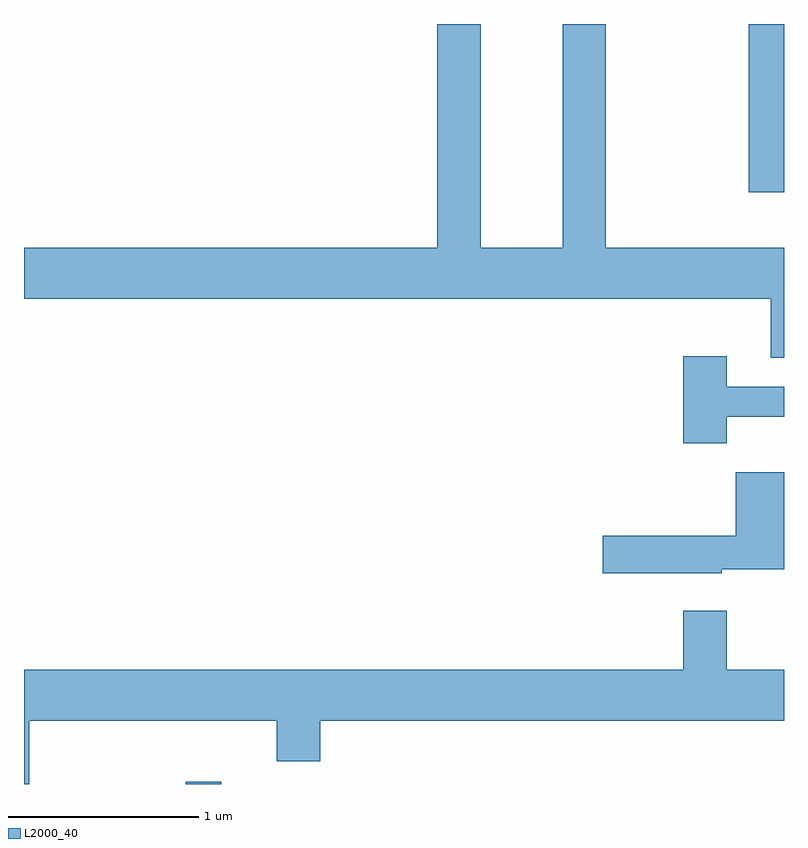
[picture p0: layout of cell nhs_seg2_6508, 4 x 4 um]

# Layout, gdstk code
import gdstk
lib = gdstk.Library(unit=1e-6, precision=1e-09)
def R(c, l, rs):  # rectangles x0, y0, x1, y1
    for r in rs: c.add(gdstk.rectangle(r[:2], r[2:], *l))
def P(c, l, *ps):  # polygons
    for p in ps: c.add(gdstk.Polygon(p, *l))
L2000_40 = (2000, 40)

nhs_seg2_6508 = lib.new_cell('nhs_seg2_6508')
R(nhs_seg2_6508, L2000_40, [(378.461,1005.802,378.649,1005.814), (381.426,1008.916,381.611,1009.802)])
P(nhs_seg2_6508, L2000_40, [(381.611,1008.624),(380.674,1008.624),(380.674,1009.802),(380.446,1009.802),(380.446,1008.624),(380.014,1008.624),(380.014,1009.802),(379.786,1009.802),(379.786,1008.624),(377.611,1008.624),(377.611,1008.356),(381.541,1008.356),(381.541,1008.046),(381.611,1008.046)],
  [(381.309,1007.736),(381.611,1007.736),(381.611,1007.894),(381.309,1007.894),(381.309,1008.054),(381.081,1008.054),(381.081,1007.596),(381.309,1007.596)],
  [(381.284,1006.931),(381.611,1006.931),(381.611,1007.444),(381.356,1007.444),(381.356,1007.109),(380.656,1007.109),(380.656,1006.911),(381.284,1006.911)],
  [(377.639,1006.136),(378.941,1006.136),(378.941,1005.921),(379.169,1005.921),(379.169,1006.136),(381.611,1006.136),(381.611,1006.404),(381.309,1006.404),(381.309,1006.714),(381.081,1006.714),(381.081,1006.404),(377.611,1006.404),(377.611,1005.802),(377.639,1005.802)])

lib.write_gds('nhs_seg2_6508.gds')
